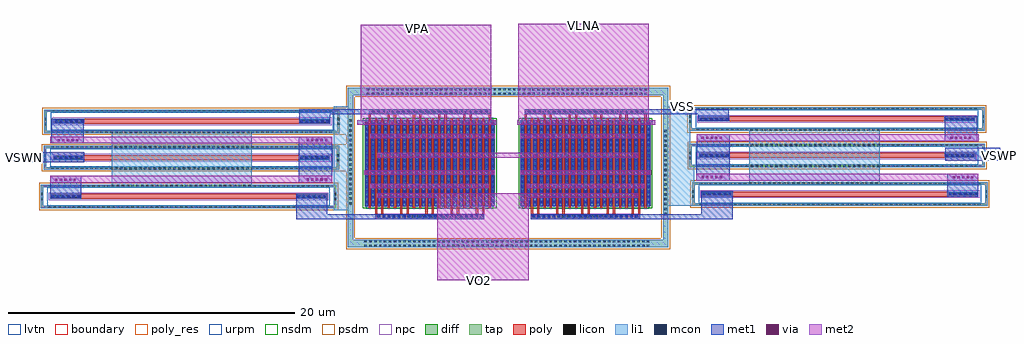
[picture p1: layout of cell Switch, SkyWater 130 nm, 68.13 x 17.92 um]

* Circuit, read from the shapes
.subckt Switch VLNA VO2 VPA VSS VSWN VSWP
XM1 n1 n2 VPA VSS sky130_fd_pr__nfet_01v8_lvt w=6 l=0.15 m=10
XM2 VO2 n3 n1 VSS sky130_fd_pr__nfet_01v8_lvt w=6 l=0.15 m=10
XM3 n4 n5 VLNA VSS sky130_fd_pr__nfet_01v8_lvt w=6 l=0.15 m=10
XM4 VO2 n6 n4 VSS sky130_fd_pr__nfet_01v8_lvt w=6 l=0.15 m=10
XR5 n3 n7 VSS sky130_fd_pr__res_xhigh_po w=0.35 l=15
XR6 n7 VSWN VSS sky130_fd_pr__res_xhigh_po w=0.35 l=15
XR7 n2 n7 VSS sky130_fd_pr__res_xhigh_po w=0.35 l=15
XR8 n8 n5 VSS sky130_fd_pr__res_xhigh_po w=0.35 l=15
XR9 VSWP n8 VSS sky130_fd_pr__res_xhigh_po w=0.35 l=15
XR10 n8 n6 VSS sky130_fd_pr__res_xhigh_po w=0.35 l=15
.ends

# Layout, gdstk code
from math import pi, radians
import gdstk
lib = gdstk.Library(unit=1e-6, precision=1e-09)
def R(c, l, rs):  # rectangles x0, y0, x1, y1
    for r in rs: c.add(gdstk.rectangle(r[:2], r[2:], *l))
def A(c, l, x, y, w, h, nx, ny, dx, dy):  # array of equal rectangles
    R(c, l, [(x+i*dx, y+j*dy, x+i*dx+w, y+j*dy+h) for i in range(nx) for j in range(ny)])
diff = (65, 20)
tap = (65, 44)
poly_res = (66, 13)
poly = (66, 20)
licon = (66, 44)
li1 = (67, 20)
mcon = (67, 44)
met1 = (68, 20)
via = (68, 44)
met2 = (69, 20)
urpm = (79, 20)
nsdm = (93, 44)
psdm = (94, 20)
npc = (95, 20)
lvtn = (125, 44)
boundary = (235, 4)

sky130_fd_pr__res_xhigh_ = lib.new_cell('sky130_fd_pr__res_xhigh_po_0p35_9FS993')
R(sky130_fd_pr__res_xhigh_, tap, [(-0.825,-10.31,0.825,-10.14), (-0.825,-10.14,-0.655,10.14), (0.655,-10.14,0.825,10.14), (-0.825,10.14,0.825,10.31)])
R(sky130_fd_pr__res_xhigh_, poly_res, [(-0.175,-7.56,0.175,7.56)])
R(sky130_fd_pr__res_xhigh_, poly, [(-0.175,-9.66,0.175,9.66)])
A(sky130_fd_pr__res_xhigh_, licon, -0.825, -9.775, 0.17, 0.17, 1, 58, 0, 0.34)
A(sky130_fd_pr__res_xhigh_, licon, 0.655, -9.775, 0.17, 0.17, 1, 58, 0, 0.34)
R(sky130_fd_pr__res_xhigh_, licon, [(-0.255,-10.31,-0.085,-10.14), (0.085,-10.31,0.255,-10.14), (-0.095,-9.58,0.095,-7.58), (-0.095,7.58,0.095,9.58), (-0.255,10.14,-0.085,10.31), (0.085,10.14,0.255,10.31)])
R(sky130_fd_pr__res_xhigh_, li1, [(-0.825,-10.31,0.825,-10.14), (-0.825,-10.14,-0.655,10.14), (0.655,-10.14,0.825,10.14), (-0.175,-9.66,0.175,-7.5), (-0.175,7.5,0.175,9.66), (-0.825,10.14,0.825,10.31)])
A(sky130_fd_pr__res_xhigh_, mcon, -0.085, -9.565, 0.17, 0.17, 1, 6, 0, 0.36)
A(sky130_fd_pr__res_xhigh_, mcon, -0.085, 7.59, 0.17, 0.17, 1, 6, 0, 0.36)
R(sky130_fd_pr__res_xhigh_, met1, [(-0.125,-9.63,0.125,-7.525), (-0.125,7.525,0.125,9.63)])
R(sky130_fd_pr__res_xhigh_, urpm, [(-0.635,-9.86,0.635,9.86)])
R(sky130_fd_pr__res_xhigh_, psdm, [(-0.95,-10.435,0.95,10.435)])
R(sky130_fd_pr__res_xhigh_, npc, [(-0.27,-9.755,0.27,9.755)])
R(sky130_fd_pr__res_xhigh_, boundary, [(-0.74,-10.225,0.74,10.225)])

sky130_fd_pr__nfet_01v8_ = lib.new_cell('sky130_fd_pr__nfet_01v8_lvt_HYBPL5')
R(sky130_fd_pr__nfet_01v8_, diff, [(-0.365,-3,0.365,3)])
R(sky130_fd_pr__nfet_01v8_, poly, [(-0.075,-3.13,0.075,3.13)])
A(sky130_fd_pr__nfet_01v8_, licon, -0.305, -2.805, 0.17, 0.17, 1, 17, 0, 0.34)
A(sky130_fd_pr__nfet_01v8_, licon, 0.135, -2.805, 0.17, 0.17, 1, 17, 0, 0.34)
R(sky130_fd_pr__nfet_01v8_, li1, [(-0.305,-3.02,-0.135,3.02), (0.135,-3.02,0.305,3.02)])
A(sky130_fd_pr__nfet_01v8_, mcon, -0.305, -2.785, 0.17, 0.17, 1, 16, 0, 0.36)
A(sky130_fd_pr__nfet_01v8_, mcon, 0.135, -2.785, 0.17, 0.17, 1, 16, 0, 0.36)
R(sky130_fd_pr__nfet_01v8_, met1, [(-0.335,-3,-0.105,3), (0.105,-3,0.335,3)])
R(sky130_fd_pr__nfet_01v8_, nsdm, [(-0.49,-3.125,0.49,3.125)])
R(sky130_fd_pr__nfet_01v8_, lvtn, [(-0.255,-3.18,0.255,3.18)])

switch = lib.new_cell('Switch')
R(switch, diff, [(-7.26,4.53,1.83,10.53)])
R(switch, tap, [(-8.425,1.66,13.94,2.185), (-8.425,2.185,-8.06,12.285), (13.575,2.185,13.94,12.285), (-29.85,4.39,-9.23,4.56), (-29.85,4.56,-29.68,5.87), (-9.4,4.56,-9.23,5.87), (-29.85,5.87,-9.23,6.04), (-29.655,7.085,-9.035,7.255), (-29.655,7.255,-29.485,8.565), (-9.205,7.255,-9.035,8.565), (-29.655,8.565,-9.035,8.735), (-29.63,9.63,-9.01,9.8), (-29.63,9.8,-29.46,11.11), (-9.18,9.8,-9.01,11.11), (-29.63,11.11,-9.01,11.28), (-8.425,12.285,13.94,12.81), (13.575,12.81,13.94,12.815)])
R(switch, poly_res, [(-27.1,5.04,-11.98,5.39), (-26.905,7.735,-11.785,8.085), (-26.88,10.28,-11.76,10.63)])
R(switch, poly, [(-6.53,3.63,1.1,3.98), (4.35,3.63,11.98,3.98), (-6.53,3.98,-6.38,10.66), (-6.09,3.98,-5.94,10.66), (-4.77,3.98,-4.62,10.66), (-4.33,3.98,-4.18,10.66), (-3.01,3.98,-2.86,10.66), (-2.57,3.98,-2.42,10.66), (-1.25,3.98,-1.1,10.66), (-0.81,3.98,-0.66,10.66), (0.51,3.98,0.66,10.66), (0.95,3.98,1.1,10.66), (4.35,3.98,4.5,4.4), (4.79,3.98,4.94,4.4), (6.11,3.98,6.26,4.4), (6.55,3.98,6.7,4.4), (7.87,3.98,8.02,4.4), (8.31,3.98,8.46,4.4), (9.63,3.98,9.78,4.4), (10.07,3.98,10.22,4.4), (11.39,3.98,11.54,4.4), (11.83,3.98,11.98,4.53), (-6.97,4.4,-6.82,10.95), (-5.65,4.4,-5.5,10.95), (-5.21,4.4,-5.06,10.95), (-3.89,4.4,-3.74,10.95), (-3.45,4.4,-3.3,10.95), (-2.13,4.4,-1.98,10.95), (-1.69,4.4,-1.54,10.95), (-0.37,4.4,-0.22,10.95), (0.07,4.4,0.22,10.95), (1.39,4.4,1.54,10.95), (-29.2,5.04,-9.88,5.39), (-29.005,7.735,-9.685,8.085), (-28.98,10.28,-9.66,10.63), (5.23,10.53,5.38,10.95), (5.67,10.53,5.82,10.95), (6.99,10.53,7.14,10.95), (7.43,10.53,7.58,10.95), (8.75,10.53,8.9,10.95), (9.19,10.53,9.34,10.95), (10.51,10.53,10.66,10.95), (10.95,10.53,11.1,10.95), (12.27,10.53,12.42,10.95), (3.91,10.65,4.06,10.95), (-6.97,10.95,1.54,11.3), (3.91,10.95,12.42,11.3)])
A(switch, licon, -7.27, 1.665, 0.17, 0.17, 59, 2, 0.34, 0.34)
A(switch, licon, -6.335, 3.72, 0.17, 0.17, 22, 1, 0.34, 0)
A(switch, licon, 4.475, 3.72, 0.17, 0.17, 22, 1, 0.34, 0)
A(switch, licon, 13.67, 3.915, 0.17, 0.17, 1, 18, 0, 0.34)
A(switch, licon, -29.315, 4.39, 0.17, 0.17, 58, 2, 0.34, 1.48)
A(switch, licon, -8.33, 4.64, 0.17, 0.17, 1, 18, 0, 0.34)
A(switch, licon, -7.2, 4.725, 0.17, 0.17, 21, 17, 0.44, 0.34)
A(switch, licon, -29.12, 7.085, 0.17, 0.17, 58, 2, 0.34, 1.48)
A(switch, licon, -29.095, 9.63, 0.17, 0.17, 58, 2, 0.34, 1.48)
A(switch, licon, -6.71, 11.04, 0.17, 0.17, 24, 1, 0.34, 0)
A(switch, licon, 4.17, 11.04, 0.17, 0.17, 24, 1, 0.34, 0)
A(switch, licon, -7.1, 12.29, 0.17, 0.17, 58, 2, 0.34, 0.34)
R(switch, licon, [(-29.85,4.96,-29.68,5.13), (-9.4,4.96,-9.23,5.13), (-29.12,5.12,-27.12,5.31), (-11.96,5.12,-9.96,5.31), (-29.85,5.3,-29.68,5.47), (-9.4,5.3,-9.23,5.47), (-29.655,7.655,-29.485,7.825), (-9.205,7.655,-9.035,7.825), (-28.925,7.815,-26.925,8.005), (-11.765,7.815,-9.765,8.005), (-29.655,7.995,-29.485,8.165), (-9.205,7.995,-9.035,8.165), (-29.63,10.2,-29.46,10.37), (-9.18,10.2,-9.01,10.37), (-28.9,10.36,-26.9,10.55), (-11.74,10.36,-9.74,10.55), (-29.63,10.54,-29.46,10.71), (-9.18,10.54,-9.01,10.71)])
A(switch, li1, -7.2, 4.51, 0.17, 6.04, 21, 1, 0.44, 0)
R(switch, li1, [(-8.425,1.66,13.94,2.185), (-8.425,2.185,-8.06,4.24), (13.575,2.185,13.94,4.55), (-6.53,3.63,1.1,3.98), (4.35,3.63,11.98,3.98), (-9.425,4.24,-8.06,4.39), (-29.85,4.39,-8.06,4.56), (13.575,4.55,15.76,7.425), (-29.85,4.56,-29.68,5.87), (-9.425,4.56,-8.06,5.87), (-29.2,5.04,-27.04,5.39), (-12.04,5.04,-9.88,5.39), (-29.85,5.87,-8.06,6.04), (19.605,6.035,28.7,9.965), (-24.92,6.04,-15.145,7.085), (-9.425,6.04,-8.06,7.085), (-29.655,7.085,-8.06,7.255), (-29.655,7.255,-29.485,8.565), (-24.92,7.255,-15.145,8.565), (-9.425,7.255,-8.06,8.565), (13.575,7.425,15.485,11.465), (-29.005,7.735,-26.845,8.085), (-11.845,7.735,-9.685,8.085), (-29.655,8.565,-8.06,8.735), (-24.92,8.735,-15.145,9.63), (-9.425,8.735,-8.06,9.63), (-29.63,9.63,-8.06,9.8), (-29.63,9.8,-29.46,11.11), (-9.425,9.8,-8.06,11.11), (-28.98,10.28,-26.82,10.63), (-11.82,10.28,-9.66,10.63), (-6.97,10.95,1.54,11.3), (3.91,10.95,12.42,11.3), (-29.63,11.11,-8.06,11.28), (-9.425,11.28,-8.06,11.525), (13.575,11.465,13.94,12.285), (-8.425,11.525,-8.06,12.285), (-8.425,12.285,13.94,12.81)])
A(switch, mcon, -6.365, 3.72, 0.17, 0.17, 21, 1, 0.36, 0)
A(switch, mcon, 4.445, 3.72, 0.17, 0.17, 21, 1, 0.36, 0)
A(switch, mcon, -7.2, 4.745, 0.17, 0.17, 21, 16, 0.44, 0.36)
A(switch, mcon, -29.105, 5.13, 0.17, 0.17, 6, 1, 0.36, 0)
A(switch, mcon, -11.95, 5.13, 0.17, 0.17, 6, 1, 0.36, 0)
A(switch, mcon, -28.91, 7.825, 0.17, 0.17, 6, 1, 0.36, 0)
A(switch, mcon, -11.755, 7.825, 0.17, 0.17, 6, 1, 0.36, 0)
A(switch, mcon, -28.885, 10.37, 0.17, 0.17, 6, 1, 0.36, 0)
A(switch, mcon, -11.73, 10.37, 0.17, 0.17, 6, 1, 0.36, 0)
A(switch, mcon, -6.76, 11.04, 0.17, 0.17, 23, 1, 0.36, 0)
A(switch, mcon, 4.12, 11.04, 0.17, 0.17, 23, 1, 0.36, 0)
A(switch, met1, -7.23, 4.53, 0.23, 2.19, 6, 1, 1.76, 0)
A(switch, met1, -6.79, 4.53, 0.23, 1.24, 10, 1, 0.88, 0)
A(switch, met1, -6.35, 4.53, 0.23, 0.6, 5, 1, 1.76, 0)
A(switch, met1, -4.635, 5.13, 0.32, 0.32, 4, 1, 1.76, 0)
A(switch, met1, 4.485, 5.13, 0.32, 0.32, 4, 1, 1.76, 0)
A(switch, met1, -6.35, 5.45, 0.23, 2.48, 5, 1, 1.76, 0)
A(switch, met1, -6.85, 5.77, 0.32, 0.32, 10, 1, 0.88, 0)
A(switch, met1, 4.06, 5.77, 0.32, 0.32, 10, 1, 0.88, 0)
A(switch, met1, -6.79, 6.09, 0.23, 3.17, 10, 1, 0.88, 0)
A(switch, met1, -7.29, 6.72, 0.32, 0.32, 6, 1, 1.76, 0)
A(switch, met1, 3.62, 6.72, 0.32, 0.32, 6, 1, 1.76, 0)
A(switch, met1, -7.23, 7.04, 0.23, 3.16, 6, 1, 1.76, 0)
A(switch, met1, -6.39, 7.93, 0.32, 0.32, 5, 1, 1.76, 0)
A(switch, met1, 4.48, 7.93, 0.32, 0.32, 5, 1, 1.76, 0)
A(switch, met1, -6.35, 8.25, 0.23, 2.28, 5, 1, 1.76, 0)
A(switch, met1, -5.09, 9.26, 0.29, 0.32, 8, 1, 0.88, 0)
A(switch, met1, 4.09, 9.26, 0.29, 0.32, 7, 1, 0.88, 0)
A(switch, met1, -6.79, 9.58, 0.23, 0.95, 10, 1, 0.88, 0)
A(switch, met1, -5.53, 10.2, 0.29, 0.32, 4, 1, 1.76, 0)
A(switch, met1, 7.17, 10.2, 0.29, 0.32, 3, 1, 1.76, 0)
A(switch, met1, -7.23, 10.52, 0.23, 0.01, 6, 1, 1.76, 0)
R(switch, met1, [(-12.04,3.63,1.1,3.98), (4.35,3.63,18.425,3.98), (-12.04,3.98,-9.88,5.39), (16.245,3.98,18.425,5.565), (-29.205,5.04,-27.04,6.64), (-6.395,5.13,-6.08,5.45), (11.53,5.13,11.845,5.45), (33.425,5.205,35.59,6.805), (-11.845,6.16,-9.52,7.625), (15.905,6.325,18.23,7.79), (-31.035,7.61,-26.82,8.285), (-11.85,7.625,-9.52,8.085), (33.26,7.695,37.095,8.6), (15.905,7.79,18.235,8.25), (-11.85,8.085,-9.525,9.39), (15.91,8.25,18.235,9.555), (-29.135,8.91,-26.87,10.33), (33.255,9.075,35.52,10.795), (-6.82,9.26,-6.53,9.58), (-5.94,9.26,-5.65,9.58), (10.43,9.26,10.54,9.29), (11.1,9.26,11.39,9.58), (11.98,9.26,12.27,9.58), (10.25,9.29,10.54,9.55), (10.43,9.55,10.54,9.58), (-7.785,10.2,-7,10.52), (1.51,10.2,1.83,10.52), (3.62,10.2,3.94,10.52), (5.42,10.2,5.7,10.23), (12.45,10.2,13.04,10.52), (5.41,10.23,5.7,10.49), (-11.82,10.28,-9.66,10.95), (-29.135,10.33,-26.845,10.58), (16.045,10.445,18.175,10.945), (5.42,10.49,5.7,10.52), (-29.135,10.58,-26.87,10.63), (10.82,10.945,18.175,10.95), (-11.82,10.95,1.54,11.3), (3.91,10.95,18.175,11.31)])
A(switch, via, -6.315, 5.215, 0.15, 0.15, 5, 1, 1.76, 0)
A(switch, via, 4.575, 5.215, 0.15, 0.15, 5, 1, 1.76, 0)
A(switch, via, -6.765, 5.855, 0.15, 0.15, 10, 2, 0.88, 3.49)
A(switch, via, 4.145, 5.855, 0.15, 0.15, 10, 2, 0.88, 3.49)
A(switch, via, -28.85, 6.305, 0.15, 0.15, 5, 1, 0.32, 0)
A(switch, via, -11.305, 6.325, 0.15, 0.15, 5, 1, 0.32, 0)
A(switch, via, 33.805, 6.47, 0.15, 0.15, 5, 1, 0.32, 0)
A(switch, via, 16.26, 6.49, 0.15, 0.15, 5, 1, 0.32, 0)
A(switch, via, -7.205, 6.805, 0.15, 0.15, 6, 2, 1.76, 3.48)
A(switch, via, 3.705, 6.805, 0.15, 0.15, 6, 2, 1.76, 3.48)
A(switch, via, -6.305, 8.015, 0.15, 0.15, 5, 1, 1.76, 0)
A(switch, via, 4.565, 8.015, 0.15, 0.15, 5, 1, 1.76, 0)
A(switch, via, -28.68, 9.06, 0.15, 0.15, 5, 1, 0.32, 0)
A(switch, via, -11.3, 9.075, 0.15, 0.15, 5, 1, 0.32, 0)
A(switch, via, 33.635, 9.225, 0.15, 0.15, 5, 1, 0.32, 0)
A(switch, via, 16.255, 9.24, 0.15, 0.15, 5, 1, 0.32, 0)
R(switch, met2, [(-2.205,-0.645,4.2,5.13), (-6.395,5.13,11.845,5.45), (-6.85,5.77,1.39,6.09), (4.06,5.77,12.3,6.09), (-29.205,6.16,-9.52,6.64), (15.905,6.325,35.59,6.805), (-7.29,6.72,1.83,7.04), (3.62,6.72,12.74,7.04), (1.87,7.925,3.67,7.93), (-6.39,7.93,11.84,8.25), (1.87,8.25,3.67,8.255), (-29.21,8.91,-9.525,9.39), (15.91,9.075,35.595,9.555), (-6.85,9.26,1.83,9.58), (3.62,9.26,12.3,9.58), (-7.785,10.2,1.935,10.52), (3.395,10.2,13.04,10.52), (-7.535,10.52,1.57,17.2), (3.48,10.52,12.585,17.275)])
R(switch, urpm, [(-29.4,4.58,-9.68,5.85), (-29.205,7.275,-9.485,8.545), (-29.18,9.82,-9.46,11.09)])
R(switch, nsdm, [(-7.385,4.405,1.955,10.655)])
R(switch, psdm, [(-8.55,1.535,14.065,2.31), (-8.55,2.31,-7.935,6.96), (13.45,2.31,14.065,12.16), (-29.975,4.265,-9.105,6.165), (-29.78,6.96,-7.935,8.86), (-8.55,8.86,-7.935,9.505), (-29.755,9.505,-7.935,11.405), (-8.55,11.405,-7.935,12.16), (-8.55,12.16,14.065,12.935), (13.45,12.935,14.065,12.94)])
R(switch, npc, [(-6.435,3.62,1.075,3.99), (4.375,3.62,11.885,3.99), (-29.295,4.945,-9.785,5.485), (-29.1,7.64,-9.59,8.18), (-29.075,10.185,-9.565,10.725), (-6.81,10.94,1.38,11.31), (4.07,10.94,12.26,11.31)])
R(switch, lvtn, [(-7.15,4.35,1.72,10.71)])
switch.add(gdstk.Reference(sky130_fd_pr__res_xhigh_, (25.925,5.38), rotation=3*pi/2))
switch.add(gdstk.Reference(sky130_fd_pr__res_xhigh_, (25.73,8.075), rotation=3*pi/2))
switch.add(gdstk.Reference(sky130_fd_pr__res_xhigh_, (25.705,10.62), rotation=3*pi/2))
switch.add(gdstk.Reference(sky130_fd_pr__nfet_01v8_, (12.345,7.53)))
switch.add(gdstk.Reference(sky130_fd_pr__nfet_01v8_, (11.465,7.53)))
switch.add(gdstk.Reference(sky130_fd_pr__nfet_01v8_, (11.905,7.53)))
switch.add(gdstk.Reference(sky130_fd_pr__nfet_01v8_, (10.145,7.53)))
switch.add(gdstk.Reference(sky130_fd_pr__nfet_01v8_, (10.585,7.53)))
switch.add(gdstk.Reference(sky130_fd_pr__nfet_01v8_, (11.025,7.53)))
switch.add(gdstk.Reference(sky130_fd_pr__nfet_01v8_, (9.705,7.53)))
switch.add(gdstk.Reference(sky130_fd_pr__nfet_01v8_, (9.265,7.53)))
switch.add(gdstk.Reference(sky130_fd_pr__nfet_01v8_, (7.945,7.53)))
switch.add(gdstk.Reference(sky130_fd_pr__nfet_01v8_, (8.385,7.53)))
switch.add(gdstk.Reference(sky130_fd_pr__nfet_01v8_, (8.825,7.53)))
switch.add(gdstk.Reference(sky130_fd_pr__nfet_01v8_, (7.065,7.53)))
switch.add(gdstk.Reference(sky130_fd_pr__nfet_01v8_, (7.505,7.53)))
switch.add(gdstk.Reference(sky130_fd_pr__nfet_01v8_, (6.185,7.53)))
switch.add(gdstk.Reference(sky130_fd_pr__nfet_01v8_, (5.745,7.53)))
switch.add(gdstk.Reference(sky130_fd_pr__nfet_01v8_, (6.625,7.53)))
switch.add(gdstk.Reference(sky130_fd_pr__nfet_01v8_, (5.305,7.53)))
switch.add(gdstk.Reference(sky130_fd_pr__nfet_01v8_, (4.865,7.53)))
switch.add(gdstk.Reference(sky130_fd_pr__nfet_01v8_, (4.425,7.53)))
switch.add(gdstk.Reference(sky130_fd_pr__nfet_01v8_, (3.985,7.53)))
switch.add(gdstk.Reference(sky130_fd_pr__res_xhigh_, (-19.345,7.91), rotation=3*pi/2))
switch.add(gdstk.Reference(sky130_fd_pr__res_xhigh_, (-19.54,5.215), rotation=3*pi/2))
switch.add(gdstk.Reference(sky130_fd_pr__res_xhigh_, (-19.32,10.455), rotation=3*pi/2))
switch.add(gdstk.Label('VSWN', (-31.03,7.92), layer=68, texttype=5))
switch.add(gdstk.Label('VSWP', (37.06,8.085), layer=68, texttype=5))
switch.add(gdstk.Label('VPA', (-3.545,16.92), layer=69, texttype=5))
switch.add(gdstk.Label('VLNA', (8,17.175), layer=69, texttype=5))
switch.add(gdstk.Label('VO2', (0.78,-0.635), layer=69, texttype=5))
switch.add(gdstk.Label('VSS', (14.905,11.46), layer=67, texttype=5))

lib.write_gds('Switch.gds')
